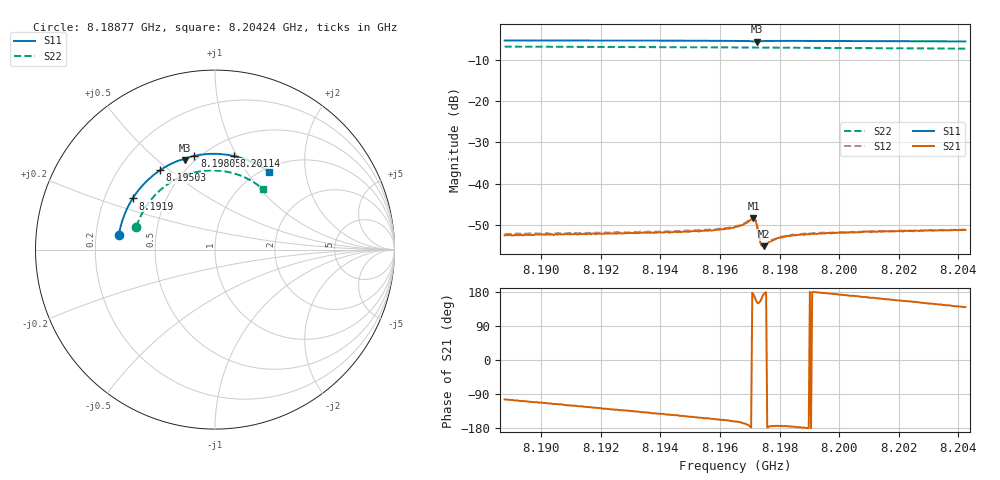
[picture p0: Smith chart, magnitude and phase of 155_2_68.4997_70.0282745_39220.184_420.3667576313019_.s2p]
#  HZ  S  RI  R  50.00
! Rohde & Schwarz Vector Network Analyzer
! Rohde-Schwarz,ZNB20-2Port,1311601062101988,3.16
! Created: UTC 3/20/2024, 4:55:33 PM
! freq[Hz]  re:S11  im:S11  re:S21  im:S21  re:S12  im:S12  re:S22  im:S22
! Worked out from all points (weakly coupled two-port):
!   401 points, 8.18877 GHz to 8.20424 GHz, reference 50 ohm
!   highest |S21| = -48.37 dB at 8.19712 GHz (marker M1); lowest = -55.2 dB at 8.19747 GHz (marker M2)
!   lowest |S11| = -5.6 dB at 8.19724 GHz (marker M3), VSWR 3.20, Z = 22.6 + j31 ohm
!   |S11| at or under -10 dB: nowhere
!   |S22| runs from -7.3 to -6.8 dB; largest |S21 - S12| = 0.00018
!   S11 on the Smith chart (normalised r, x): 8.18877 GHz: 0.30, +0.07; 8.1919 GHz: 0.32, +0.26; 8.19503 GHz: 0.37, +0.47; 8.19805 GHz: 0.47, +0.69; 8.20114 GHz: 0.67, +0.97; 8.20424 GHz: 1.07, +1.28
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8.188766e9  -0.5355 0.0808  -0.000574 -0.00229  -0.000672 -0.00234  -0.4377 0.1276
8.191358e9  -0.4779 0.2524  -0.0013 -0.00206  -0.00141 -0.00206  -0.3739 0.2556
8.191899e9  -0.4587 0.2852  -0.00147 -0.00199  -0.00157 -0.00198  -0.3556 0.2794
8.193949e9  -0.3661 0.3952  -0.00202 -0.00158  -0.00211 -0.00156  -0.2728 0.3573
8.195032e9  -0.3061 0.4424  -0.0023 -0.00133  -0.00237 -0.00127  -0.2216 0.3893
8.195767e9  -0.2614 0.4694  -0.00247 -0.00112  -0.00258 -0.00106  -0.1844 0.4071
8.196502e9  -0.2136 0.4919  -0.00285 -0.000894  -0.00289 -0.000819  -0.1457 0.421
8.196734e9  -0.1971 0.4978  -0.00303 -0.000802  -0.00312 -0.000691  -0.1331 0.4249
8.197044e9  -0.1729 0.502  -0.00368 -0.000113  -0.00376 -1.17e-05  -0.1165 0.4291
8.197121e9  -0.167 0.5002  -0.00378 0.000489  -0.00382 0.000653  -0.1121 0.4301
8.19716e9  -0.1652 0.4986  -0.00365 0.000871  -0.00365 0.00105  -0.1099 0.4303
8.197237e9  -0.1652 0.4969  -0.00278 0.00143  -0.0028 0.00158  -0.1059 0.4312
8.197353e9  -0.1639 0.5031  -0.00175 0.000814  -0.00173 0.000858  -0.0995 0.4327
8.197392e9  -0.1618 0.5055  -0.00168 0.00056  -0.00172 0.000618  -0.0975 0.4331
8.197469e9  -0.1565 0.5093  -0.00173 0.000191  -0.00177 0.000272  -0.0933 0.4342
8.197856e9  -0.1281 0.5195  -0.0021 -0.000218  -0.00214 -0.000147  -0.0718 0.4376
8.198049e9  -0.1142 0.5227  -0.00221 -0.000235  -0.00226 -0.000123  -0.0608 0.4389
8.198359e9  -0.0922 0.5269  -0.0023 -0.000196  -0.00237 -6.49e-05  -0.0434 0.4405
8.199094e9  -0.04 0.5327  -0.00247 2.35e-05  -0.0025 0.000129  -0.00193 0.4411
8.201144e9  0.1042 0.5216  -0.00251 0.000713  -0.00251 0.000828  0.1126 0.4226
8.201685e9  0.1413 0.5121  -0.00246 0.00092  -0.00244 0.00103  0.1421 0.4126
8.204238e9  0.3024 0.4322  -0.00209 0.00177  -0.00204 0.00187  0.2677 0.3378
